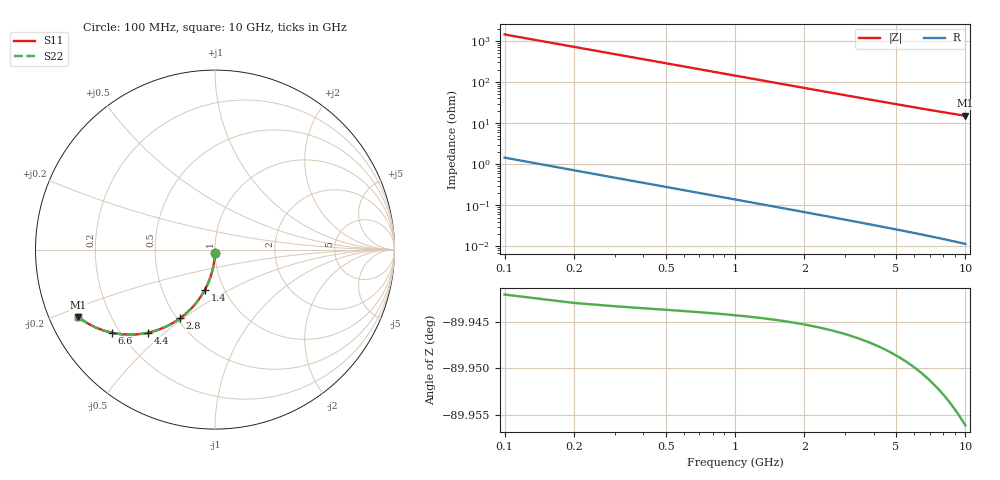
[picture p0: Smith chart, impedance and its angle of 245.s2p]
# Hz S RI R 50.00
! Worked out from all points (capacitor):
!   100 points, 100 MHz to 10 GHz, reference 50 ohm
!   read as one part in shunt: C = 1.11 pF near 100 MHz
!   lowest |Z| = 15.1 ohm at 10 GHz (marker M1)
!   S11 on the Smith chart (normalised r, x): 100 MHz: 1.00, -0.03; 1.4 GHz: 0.81, -0.38; 2.8 GHz: 0.52, -0.49; 4.4 GHz: 0.31, -0.44; 6.6 GHz: 0.17, -0.34; 10 GHz: 0.09, -0.23
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1e8  -0.000205 -0.017  0.9996 -0.0179  0.9996 -0.0179  -0.000205 -0.017
2e8  -0.00113 -0.0339  0.9986 -0.0358  0.9986 -0.0358  -0.00113 -0.0339
3e8  -0.00266 -0.0508  0.9971 -0.0536  0.9971 -0.0536  -0.00266 -0.0508
4e8  -0.00479 -0.0676  0.995 -0.0713  0.995 -0.0713  -0.00479 -0.0676
5e8  -0.00751 -0.0843  0.9922 -0.0888  0.9922 -0.0888  -0.00751 -0.0843
6e8  -0.0108 -0.1008  0.9889 -0.1063  0.9889 -0.1063  -0.0108 -0.1008
7e8  -0.0147 -0.1171  0.9851 -0.1235  0.9851 -0.1235  -0.0147 -0.1171
9e8  -0.0241 -0.1491  0.9756 -0.1574  0.9756 -0.1574  -0.0241 -0.1491
1.1e9  -0.0356 -0.18  0.9641 -0.1901  0.9641 -0.1901  -0.0356 -0.18
1.4e9  -0.0564 -0.2241  0.9433 -0.237  0.9433 -0.237  -0.0564 -0.2241
1.8e9  -0.09 -0.2777  0.9096 -0.2943  0.9096 -0.2943  -0.09 -0.2777
2.3e9  -0.1392 -0.3353  0.8603 -0.3565  0.8603 -0.3565  -0.1392 -0.3353
2.8e9  -0.1936 -0.3819  0.8058 -0.4078  0.8058 -0.4078  -0.1936 -0.3819
3.4e9  -0.2619 -0.4236  0.7373 -0.4551  0.7373 -0.4551  -0.2619 -0.4236
4.4e9  -0.3739 -0.463  0.625 -0.5039  0.625 -0.5039  -0.3739 -0.463
5.1e9  -0.4461 -0.4729  0.5525 -0.5204  0.5525 -0.5204  -0.4461 -0.4729
5.8e9  -0.5112 -0.4722  0.487 -0.5265  0.487 -0.5265  -0.5112 -0.4722
6.6e9  -0.5765 -0.4624  0.4213 -0.5244  0.4213 -0.5244  -0.5765 -0.4624
6.7e9  -0.584 -0.4607  0.4137 -0.5237  0.4137 -0.5237  -0.584 -0.4607
7.5e9  -0.6389 -0.4439  0.3583 -0.5148  0.3583 -0.5148  -0.6389 -0.4439
8.4e9  -0.6908 -0.4209  0.3057 -0.5009  0.3057 -0.5009  -0.6908 -0.4209
1e10  -0.7622 -0.3755  0.2328 -0.4718  0.2328 -0.4718  -0.7622 -0.3755
